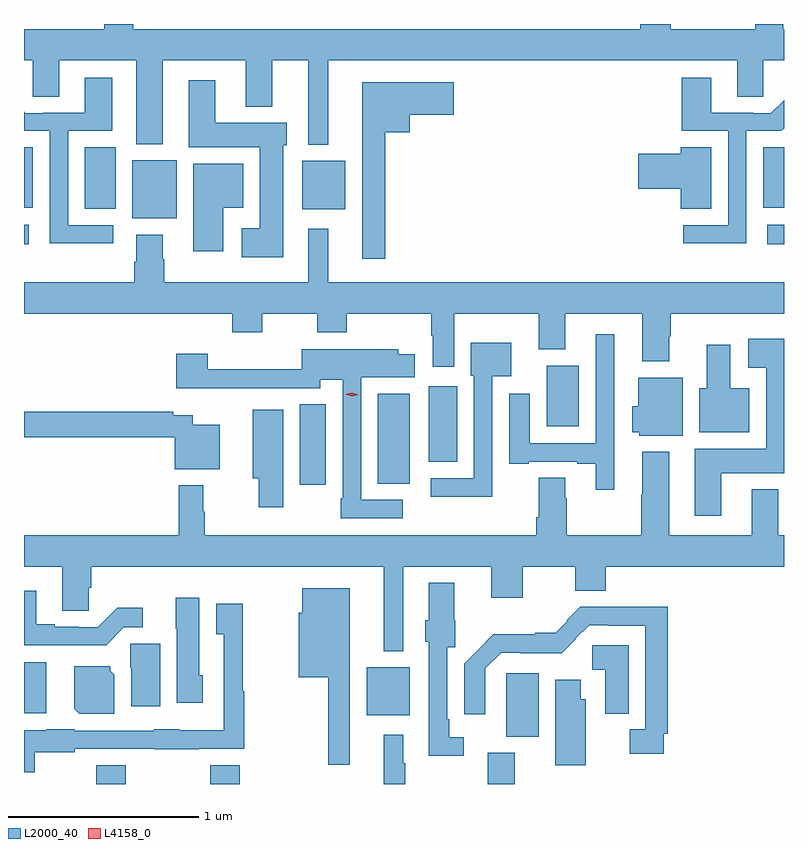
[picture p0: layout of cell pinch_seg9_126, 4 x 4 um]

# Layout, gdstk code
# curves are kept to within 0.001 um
import gdstk
lib = gdstk.Library(unit=1e-6, precision=1e-09)
def R(c, l, rs):  # rectangles x0, y0, x1, y1
    for r in rs: c.add(gdstk.rectangle(r[:2], r[2:], *l))
def P(c, l, *ps):  # polygons
    for p in ps: c.add(gdstk.Polygon(p, *l))
L2000_40 = (2000, 40)
L4158_0 = (4158, 0)

pinch_seg9_126 = lib.new_cell('pinch_seg9_126')
R(pinch_seg9_126, L2000_40, [(808.522,1227.244,808.677,1227.344), (809.122,1227.244,809.277,1227.344), (810.584,1227.244,810.724,1227.409), (810.68,1227.494,810.85,1227.828), (809.945,1227.605,810.172,1227.859), (808.142,1227.617,808.258,1227.886), (809.594,1228.818,809.731,1229.243), (810.005,1228.825,810.172,1229.299), (810.272,1228.939,810.421,1229.338), (810.893,1229.126,811.063,1229.446), (808.142,1230.086,808.168,1230.187), (812.055,1230.086,812.142,1230.187), (808.712,1230.221,808.945,1230.526), (809.606,1230.269,809.833,1230.523), (808.463,1230.271,808.624,1230.596), (808.142,1230.276,808.189,1230.596), (812.033,1230.276,812.142,1230.596)])
P(pinch_seg9_126, L2000_40, [(809.743,1231.052),(811.895,1231.052),(811.895,1230.862),(812.034,1230.862),(812.034,1231.052),(812.142,1231.052),(812.142,1231.216),(812.137,1231.216),(812.137,1231.244),(811.99,1231.244),(811.99,1231.216),(811.545,1231.216),(811.545,1231.244),(811.385,1231.244),(811.385,1231.216),(808.718,1231.216),(808.718,1231.244),(808.565,1231.244),(808.565,1231.216),(808.142,1231.216),(808.142,1231.052),(808.188,1231.052),(808.188,1230.862),(808.327,1230.862),(808.327,1231.052),(808.733,1231.052),(808.733,1230.611),(808.873,1230.611),(808.873,1231.052),(809.309,1231.052),(809.309,1230.809),(809.449,1230.809),(809.449,1231.052),(809.639,1231.052),(809.639,1230.608),(809.743,1230.608)],
  [(808.612,1230.186),(808.374,1230.186),(808.374,1230.681),(808.606,1230.681),(808.606,1230.961),(808.463,1230.961),(808.463,1230.777),(808.243,1230.777),(808.243,1230.774),(808.149,1230.774),(808.142,1230.781),(808.142,1230.681),(808.278,1230.681),(808.278,1230.089),(808.612,1230.089)],
  [(811.944,1230.681),(812.128,1230.681),(812.142,1230.695),(812.142,1230.843),(812.073,1230.774),(811.979,1230.774),(811.979,1230.777),(811.759,1230.777),(811.759,1230.961),(811.604,1230.961),(811.604,1230.681),(811.848,1230.681),(811.848,1230.186),(811.611,1230.186),(811.611,1230.089),(811.944,1230.089)],
  [(809.506,1230.606),(809.524,1230.606),(809.524,1230.724),(809.149,1230.724),(809.149,1230.949),(809.009,1230.949),(809.009,1230.596),(809.384,1230.596),(809.384,1230.169),(809.289,1230.169),(809.289,1230.017),(809.506,1230.017)],
  [(810.043,1230.674),(810.172,1230.674),(810.172,1230.767),(810.403,1230.767),(810.403,1230.937),(809.921,1230.937),(809.921,1230.009),(810.043,1230.009)],
  [(811.759,1230.596),(811.598,1230.596),(811.598,1230.56),(811.374,1230.56),(811.374,1230.377),(811.598,1230.377),(811.598,1230.271),(811.759,1230.271)],
  [(809.191,1230.278),(809.296,1230.278),(809.296,1230.508),(809.033,1230.508),(809.033,1230.048),(809.191,1230.048)],
  [(810.406,1229.72),(810.851,1229.72),(810.851,1229.531),(810.991,1229.531),(810.991,1229.72),(811.397,1229.72),(811.397,1229.468),(811.537,1229.468),(811.537,1229.6),(811.545,1229.6),(811.545,1229.72),(812.142,1229.72),(812.142,1229.884),(809.743,1229.884),(809.743,1230.166),(809.639,1230.166),(809.639,1229.884),(808.881,1229.884),(808.881,1230.005),(808.873,1230.005),(808.873,1230.136),(808.733,1230.136),(808.733,1229.993),(808.721,1229.993),(808.721,1229.884),(808.142,1229.884),(808.142,1229.72),(809.237,1229.72),(809.237,1229.621),(809.397,1229.621),(809.397,1229.72),(809.686,1229.72),(809.686,1229.621),(809.841,1229.621),(809.841,1229.72),(810.286,1229.72),(810.286,1229.602),(810.293,1229.602),(810.293,1229.439),(810.406,1229.439)],
  [(811.249,1229.034),(811.248,1229.034),(811.248,1229.611),(811.152,1229.611),(811.152,1229.037),(810.805,1229.037),(810.805,1229.299),(810.695,1229.299),(810.695,1228.929),(810.799,1228.929),(810.799,1228.941),(811.055,1228.941),(811.055,1228.929),(811.151,1228.929),(811.151,1228.794),(811.249,1228.794)],
  [(811.813,1228.88),(812.142,1228.88),(812.142,1229.587),(811.953,1229.587),(811.953,1229.435),(812.048,1229.435),(812.048,1229.008),(811.673,1229.008),(811.673,1228.656),(811.813,1228.656)],
  [(810.606,1229.39),(810.706,1229.39),(810.706,1229.566),(810.494,1229.566),(810.494,1229.394),(810.51,1229.394),(810.51,1228.854),(810.282,1228.854),(810.282,1228.757),(810.606,1228.757)],
  [(811.96,1229.326),(811.858,1229.326),(811.858,1229.557),(811.736,1229.557),(811.736,1229.326),(811.697,1229.326),(811.697,1229.096),(811.96,1229.096)],
  [(810.136,1228.74),(809.916,1228.74),(809.916,1229.384),(810.199,1229.384),(810.199,1229.506),(810.111,1229.506),(810.111,1229.533),(809.604,1229.533),(809.604,1229.426),(809.108,1229.426),(809.108,1229.509),(808.943,1229.509),(808.943,1229.327),(809.191,1229.327),(809.191,1229.328),(809.7,1229.328),(809.7,1229.372),(809.82,1229.372),(809.82,1228.747),(809.808,1228.747),(809.808,1228.644),(810.136,1228.644)],
  [(811.609,1229.383),(811.376,1229.383),(811.376,1229.231),(811.343,1229.231),(811.343,1229.096),(811.38,1229.096),(811.38,1229.078),(811.609,1229.078)],
  [(809.506,1229.215),(809.345,1229.215),(809.345,1228.853),(809.377,1228.853),(809.377,1228.701),(809.506,1228.701)],
  [(809.173,1229.134),(809.031,1229.134),(809.031,1229.185),(808.928,1229.185),(808.928,1229.204),(808.142,1229.204),(808.142,1229.068),(808.935,1229.068),(808.935,1228.901),(809.173,1228.901)],
  [(808.142,1228.388),(808.343,1228.388),(808.343,1228.156),(808.482,1228.156),(808.482,1228.278),(808.496,1228.278),(808.496,1228.388),(810.035,1228.388),(810.035,1227.944),(810.139,1227.944),(810.139,1228.388),(810.602,1228.388),(810.602,1228.224),(810.766,1228.224),(810.766,1228.388),(811.043,1228.388),(811.043,1228.262),(811.204,1228.262),(811.204,1228.388),(812.142,1228.388),(812.142,1228.552),(812.113,1228.552),(812.113,1228.795),(811.973,1228.795),(811.973,1228.552),(811.537,1228.552),(811.537,1228.993),(811.397,1228.993),(811.397,1228.767),(811.39,1228.767),(811.39,1228.552),(810.999,1228.552),(810.999,1228.748),(810.991,1228.748),(810.991,1228.856),(810.851,1228.856),(810.851,1228.648),(810.839,1228.648),(810.839,1228.552),(809.093,1228.552),(809.093,1228.676),(809.086,1228.676),(809.086,1228.816),(808.957,1228.816),(808.957,1228.552),(808.142,1228.552)],
  [(810.457,1227.489),(810.381,1227.489),(810.381,1227.586),(810.369,1227.586),(810.369,1227.965),(810.411,1227.965),(810.411,1228.107),(810.406,1228.107),(810.406,1228.303),(810.272,1228.303),(810.272,1228.107),(810.254,1228.107),(810.254,1227.993),(810.273,1227.993),(810.273,1227.392),(810.457,1227.392)],
  [(809.857,1228.273),(809.606,1228.273),(809.606,1228.146),(809.588,1228.146),(809.588,1227.806),(809.743,1227.806),(809.743,1227.345),(809.857,1227.345)],
  [(808.668,1228.068),(808.768,1228.068),(808.768,1228.171),(808.633,1228.171),(808.53,1228.068),(808.43,1228.068),(808.43,1228.071),(808.303,1228.071),(808.303,1228.084),(808.207,1228.084),(808.207,1228.261),(808.142,1228.261),(808.142,1227.974),(808.574,1227.974)],
  [(809.083,1227.816),(809.065,1227.816),(809.065,1228.225),(808.94,1228.225),(808.94,1228.062),(808.946,1228.062),(808.946,1227.672),(809.083,1227.672)],
  [(808.198,1227.41),(808.41,1227.41),(808.41,1227.429),(808.827,1227.429),(808.827,1227.428),(809.059,1227.428),(809.059,1227.429),(809.302,1227.429),(809.302,1227.732),(809.294,1227.732),(809.294,1228.192),(809.153,1228.192),(809.153,1228.031),(809.193,1228.031),(809.193,1227.526),(808.959,1227.526),(808.959,1227.532),(808.827,1227.532),(808.827,1227.525),(808.41,1227.525),(808.41,1227.532),(808.26,1227.532),(808.26,1227.526),(808.142,1227.526),(808.142,1227.305),(808.198,1227.305)],
  [(811.509,1227.508),(811.529,1227.508),(811.529,1228.177),(811.069,1228.177),(810.999,1228.107),(811.003,1228.103),(810.941,1228.041),(810.833,1228.041),(810.833,1228.033),(810.613,1228.033),(810.458,1227.876),(810.458,1227.612),(810.57,1227.612),(810.57,1227.852),(810.654,1227.936),(810.754,1227.936),(810.754,1227.932),(810.973,1227.932),(811.047,1228.005),(811.044,1228.008),(811.116,1228.08),(811.216,1228.08),(811.216,1228.076),(811.413,1228.076),(811.413,1227.532),(811.33,1227.532),(811.33,1227.404),(811.509,1227.404)],
  [(808.858,1227.981),(808.702,1227.981),(808.702,1227.858),(808.706,1227.858),(808.706,1227.654),(808.858,1227.654)],
  [(811.324,1227.974),(811.134,1227.974),(811.134,1227.845),(811.202,1227.845),(811.202,1227.613),(811.324,1227.613)],
  [(808.618,1227.818),(808.596,1227.84),(808.596,1227.865),(808.406,1227.865),(808.406,1227.64),(808.432,1227.614),(808.618,1227.614)],
  [(811.099,1227.69),(811.072,1227.69),(811.072,1227.793),(810.938,1227.793),(810.938,1227.342),(811.099,1227.342)],
  [(810.149,1227.353),(810.139,1227.353),(810.139,1227.502),(810.035,1227.502),(810.035,1227.244),(810.149,1227.244)])
P(pinch_seg9_126, L4158_0, [(809.868,1229.285),(809.833,1229.295),(809.833,1229.295),(809.833,1229.295),(809.868,1229.304),(809.903,1229.294),(809.903,1229.294),(809.903,1229.294)])

lib.write_gds('pinch_seg9_126.gds')
